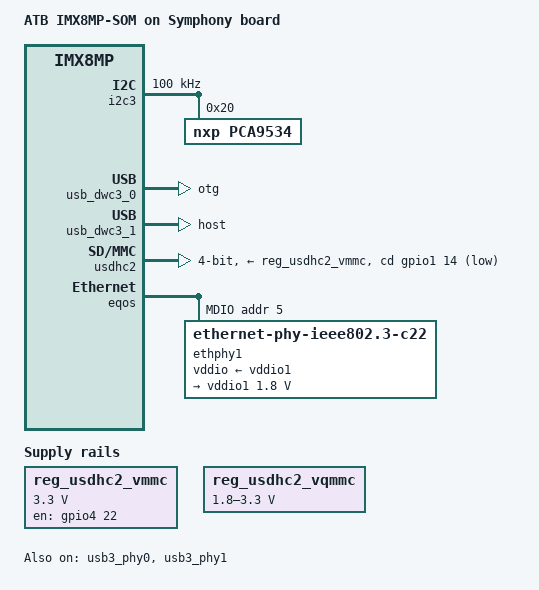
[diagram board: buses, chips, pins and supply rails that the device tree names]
// SPDX-License-Identifier: (GPL-2.0+ OR MIT)
/*
 * Copyright 2019 NXP
 * Copyright 2022 ATB
 */

/dts-v1/;

#include "atb-imx8mp-som.dtsi"

/ {
	model = "ATB IMX8MP-SOM on Symphony board";

	chosen {
		bootargs = "console=ttymxc1,115200 earlycon=ec_imx6q,0x30890000,115200";
		stdout-path = &uart2;
	};

	aliases {
		gpio5 = &pca9534;
	};
	
	reg_usdhc2_vmmc: regulator-usdhc2-vmmc {
		compatible = "regulator-fixed";
		pinctrl-names = "default";
		pinctrl-0 = <&pinctrl_reg_usdhc2_vmmc>;
		regulator-name = "VSD_3V3";
		regulator-min-microvolt = <3300000>;
		regulator-max-microvolt = <3300000>;
		gpio = <&gpio4 22 GPIO_ACTIVE_HIGH>;
		enable-active-high;
		startup-delay-us = <100>;
		off-on-delay-us = <12000>;
	};
	
	reg_usdhc2_vqmmc: regulator-usdhc2-vqmmc {
		compatible = "regulator-gpio";
		pinctrl-names = "default";
		pinctrl-0 = <&pinctrl_reg_usdhc2_vqmmc>;
		regulator-name = "VSD_VSEL";
		regulator-min-microvolt = <1800000>;
		regulator-max-microvolt = <3300000>;
		gpios = <&gpio2 12 GPIO_ACTIVE_HIGH>;
		states = <3300000 0
			  1800000 1>;
	};
};

&i2c3 {
	clock-frequency = <100000>;
	status = "okay";

	/* GPIO expander */
	pca9534: gpio@20 {
		status = "okay";
		compatible = "nxp,pca9534";
		reg = <0x20>;
		gpio-controller;
		#gpio-cells = <2>;

		usb3_sel_hog {
			gpio-hog;
			gpio-hog-optional;
			gpios = <4 0>;
			output-low;
			line-name = "usb3_sel";
		};

		eth1_phy_rst_hog {
			gpio-hog;
			gpio-hog-optional;
			gpios = <5 0>;
			output-high;
			line-name = "eth1_phy_rst";
		};

		eth1_phy_vsel_hog {
			gpio-hog;
			gpio-hog-optional;
			gpios = <6 0>;
			output-high;
			line-name = "eth1_phy_vsel";
		};

		eth1_phy_pwr_hog {
			gpio-hog;
			gpio-hog-optional;
			gpios = <7 0>;
			output-high;
			line-name = "eth1_phy_pwr";
		};
	};
};

&usb3_phy0 {
	fsl,phy-tx-vref-tune = <0xe>;
	fsl,phy-tx-preemp-amp-tune = <3>;
	fsl,phy-tx-vboost-level = <5>;
	fsl,phy-comp-dis-tune = <7>;
	fsl,pcs-tx-deemph-3p5db = <0x21>;
	fsl,phy-pcs-tx-swing-full = <0x7f>;
	status = "okay";
};

&usb_dwc3_0 {
	dr_mode = "otg";
	hnp-disable;
	srp-disable;
	adp-disable;
	usb-role-switch;
	role-switch-default-mode = "none";
	status = "okay";
};

&usb3_phy1 {
	fsl,phy-tx-preemp-amp-tune = <3>;
	fsl,phy-tx-vref-tune = <0xb>;
	status = "okay";
};

&usb_dwc3_1 {
	dr_mode = "host";
	status = "okay";
};

&usdhc2 {
	pinctrl-names = "default", "state_100mhz", "state_200mhz";
	pinctrl-0 = <&pinctrl_usdhc2>, <&pinctrl_usdhc2_gpio>;
	pinctrl-1 = <&pinctrl_usdhc2_100mhz>, <&pinctrl_usdhc2_gpio>;
	pinctrl-2 = <&pinctrl_usdhc2_200mhz>, <&pinctrl_usdhc2_gpio>;
	cd-gpios = <&gpio1 14 GPIO_ACTIVE_LOW>;
	vmmc-supply = <&reg_usdhc2_vmmc>;
	vqmmc-supply = <&reg_usdhc2_vqmmc>;
	bus-width = <4>;
	status = "okay";
};

&eqos {
	mdio {
		ethphy1: ethernet-phy@5 {
			compatible = "ethernet-phy-ieee802.3-c22";
			reg = <5>;
			at803x,eee-disabled;
			at803x,vddio-1p8v;
			eee-broken-1000t;
			vddio-supply = <&vddio1>;

			vddio1: vddio-regulator {
					regulator-min-microvolt = <1800000>;
					regulator-max-microvolt = <1800000>;
			};
		};
	};
};

&fec {
	pinctrl-names = "default";
	pinctrl-0 = <&pinctrl_fec>;
	phy-mode = "rgmii";
	phy-handle = <&ethphy1>;
	status = "disabled";
};

&iomuxc {

	pinctrl_reg_usdhc2_vmmc: usdhc2-vmmcreggrp {
		fsl,pins = <
			MX8MP_IOMUXC_SAI2_RXC__GPIO4_IO22				0x10
		>;
	};

	pinctrl_reg_usdhc2_vqmmc: usdhc2-vqmmcreggrp {
		fsl,pins = <
			MX8MP_IOMUXC_SD2_CD_B__GPIO2_IO12				0xc0
		>;
	};

	pinctrl_usdhc2: usdhc2grp {
		fsl,pins = <
			MX8MP_IOMUXC_SD2_CLK__USDHC2_CLK				0x190
			MX8MP_IOMUXC_SD2_CMD__USDHC2_CMD				0x1d0
			MX8MP_IOMUXC_SD2_DATA0__USDHC2_DATA0				0x1d0
			MX8MP_IOMUXC_SD2_DATA1__USDHC2_DATA1				0x1d0
			MX8MP_IOMUXC_SD2_DATA2__USDHC2_DATA2				0x1d0
			MX8MP_IOMUXC_SD2_DATA3__USDHC2_DATA3				0x1d0
		>;
	};

	pinctrl_usdhc2_100mhz: usdhc2-100mhzgrp {
		fsl,pins = <
			MX8MP_IOMUXC_SD2_CLK__USDHC2_CLK				0x194
			MX8MP_IOMUXC_SD2_CMD__USDHC2_CMD				0x1d4
			MX8MP_IOMUXC_SD2_DATA0__USDHC2_DATA0				0x1d4
			MX8MP_IOMUXC_SD2_DATA1__USDHC2_DATA1				0x1d4
			MX8MP_IOMUXC_SD2_DATA2__USDHC2_DATA2				0x1d4
			MX8MP_IOMUXC_SD2_DATA3__USDHC2_DATA3				0x1d4
		>;
	};

	pinctrl_usdhc2_200mhz: usdhc2-200mhzgrp {
		fsl,pins = <
			MX8MP_IOMUXC_SD2_CLK__USDHC2_CLK				0x196
			MX8MP_IOMUXC_SD2_CMD__USDHC2_CMD				0x1d6
			MX8MP_IOMUXC_SD2_DATA0__USDHC2_DATA0				0x1d6
			MX8MP_IOMUXC_SD2_DATA1__USDHC2_DATA1				0x1d6
			MX8MP_IOMUXC_SD2_DATA2__USDHC2_DATA2				0x1d6
			MX8MP_IOMUXC_SD2_DATA3__USDHC2_DATA3				0x1d6
		>;
	};

	pinctrl_usdhc2_gpio: usdhc2-gpiogrp {
		fsl,pins = <
			MX8MP_IOMUXC_GPIO1_IO14__GPIO1_IO14				0x1c4
		>;
	};

	pinctrl_fec: fecgrp {
		fsl,pins = <
			MX8MP_IOMUXC_SAI1_RXD4__ENET1_RGMII_RD0				0x90
			MX8MP_IOMUXC_SAI1_RXD5__ENET1_RGMII_RD1				0x90
			MX8MP_IOMUXC_SAI1_RXD6__ENET1_RGMII_RD2				0x90
			MX8MP_IOMUXC_SAI1_RXD7__ENET1_RGMII_RD3				0x90
			MX8MP_IOMUXC_SAI1_TXC__ENET1_RGMII_RXC				0x90
			MX8MP_IOMUXC_SAI1_TXFS__ENET1_RGMII_RX_CTL			0x90
			MX8MP_IOMUXC_SAI1_TXD0__ENET1_RGMII_TD0				0x16
			MX8MP_IOMUXC_SAI1_TXD1__ENET1_RGMII_TD1				0x16
			MX8MP_IOMUXC_SAI1_TXD2__ENET1_RGMII_TD2				0x16
			MX8MP_IOMUXC_SAI1_TXD3__ENET1_RGMII_TD3				0x16
			MX8MP_IOMUXC_SAI1_TXD4__ENET1_RGMII_TX_CTL			0x16
			MX8MP_IOMUXC_SAI1_TXD5__ENET1_RGMII_TXC				0x16
		>;
	};
};
